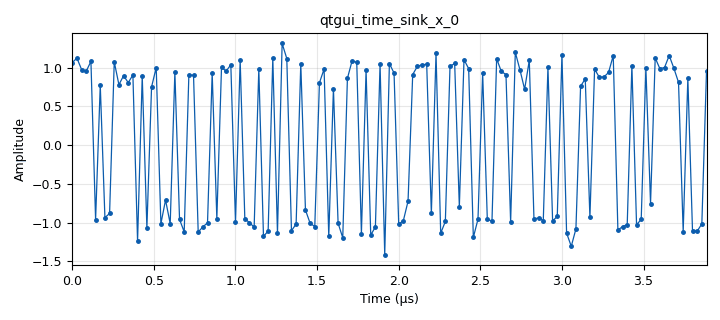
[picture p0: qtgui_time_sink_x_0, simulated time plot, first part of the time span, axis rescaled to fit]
options:
  parameters:
    category: Custom
    generate_options: qt_gui
    id: ber_test
    output_language: python
    title: simple BER test
  states: {}

blocks:
- name: berminerrs
  id: variable
  parameters:
    value: '100'
  states: {}
- name: dec
  id: variable_cc_decoder_def
  parameters:
    dim1: '1'
    framebits: framebits
    k: k
    mode: fec.CC_STREAMING
    ndim: '1'
    padding: 'False'
    polys: polys
    rate: rate
    state_end: '-1'
    state_start: '0'
  states: {}
- name: enc
  id: variable_cc_encoder_def
  parameters:
    dim1: '1'
    framebits: framebits
    k: k
    mode: fec.CC_STREAMING
    ndim: '1'
    padding: 'False'
    polys: polys
    rate: rate
    state_start: '0'
  states: {}
- name: esno
  id: variable_qtgui_range
  parameters:
    label: EsN0
    start: '0'
    step: '0.25'
    stop: '15'
    value: '15'
  states: {}
- name: framebits
  id: variable
  parameters:
    value: '4096'
  states: {}
- name: k
  id: variable
  parameters:
    value: '7'
  states: {}
- name: noise
  id: variable
  parameters:
    value: numpy.sqrt((10.0**(-esno/10.0))/2.0)
  states: {}
- name: polys
  id: variable
  parameters:
    value: '[79, 109]'
  states: {}
- name: puncpat
  id: variable
  parameters:
    value: '''11'''
  states: {}
- name: rate
  id: variable
  parameters:
    value: '2'
  states: {}
- name: samp_rate
  id: variable
  parameters:
    value: '35000000'
  states: {}
- name: analog_fastnoise_source_x_0
  id: analog_fastnoise_source_x
  parameters:
    amp: noise
    noise_type: analog.GR_GAUSSIAN
    samples: '8192'
    seed: '0'
    type: float
  states: {}
- name: analog_random_source_x_0
  id: analog_random_source_x
  parameters:
    max: '256'
    min: '0'
    num_samps: '1000'
    repeat: 'True'
    type: byte
  states: {}
- name: blocks_add_xx_0
  id: blocks_add_xx
  parameters:
    type: float
  states: {}
- name: blocks_char_to_float_1
  id: blocks_char_to_float
  parameters:
    scale: '1'
  states: {}
- name: blocks_pack_k_bits_bb_0
  id: blocks_pack_k_bits_bb
  parameters:
    k: '8'
  states: {}
- name: blocks_throttle_0
  id: blocks_throttle
  parameters:
    samples_per_second: samp_rate
    type: byte
  states: {}
- name: blocks_unpack_k_bits_bb_0
  id: blocks_unpack_k_bits_bb
  parameters:
    k: '8'
  states: {}
- name: digital_map_bb_0
  id: digital_map_bb
  parameters:
    map: '[-1, 1]'
  states: {}
- name: fec_ber_bf_0
  id: fec_ber_bf
  parameters:
    berminerrors: berminerrs
    test_mode: 'False'
  states: {}
- name: fec_extended_decoder_0
  id: fec_extended_decoder
  parameters:
    decoder_list: dec
    puncpat: puncpat
    threadtype: none
  states: {}
- name: fec_extended_encoder_0
  id: fec_extended_encoder
  parameters:
    encoder_list: enc
    puncpat: puncpat
    threadtype: capillary
  states: {}
- name: qtgui_number_sink_0
  id: qtgui_number_sink
  parameters:
    autoscale: 'True'
    color1: ("blue", "red")
    graph_type: qtgui.NUM_GRAPH_HORIZ
    label1: BER
    max: '10'
    min: '-10'
    type: float
  states: {}
- name: qtgui_time_sink_x_0
  id: qtgui_time_sink_x
  parameters:
    alpha1: '0.5'
    label1: ''
    legend: 'False'
    marker1: '0'
    name: ''
    size: '1024'
    srate: samp_rate
    style1: '3'
    type: float
    ymax: '1.25'
    ymin: '-1.25'
  states: {}

connections:
- [analog_fastnoise_source_x_0, '0', blocks_add_xx_0, '0']
- [analog_random_source_x_0, '0', blocks_throttle_0, '0']
- [blocks_add_xx_0, '0', fec_extended_decoder_0, '0']
- [blocks_add_xx_0, '0', qtgui_time_sink_x_0, '0']
- [blocks_char_to_float_1, '0', blocks_add_xx_0, '1']
- [blocks_pack_k_bits_bb_0, '0', fec_ber_bf_0, '0']
- [blocks_throttle_0, '0', blocks_unpack_k_bits_bb_0, '0']
- [blocks_throttle_0, '0', fec_ber_bf_0, '1']
- [blocks_unpack_k_bits_bb_0, '0', fec_extended_encoder_0, '0']
- [digital_map_bb_0, '0', blocks_char_to_float_1, '0']
- [fec_ber_bf_0, '0', qtgui_number_sink_0, '0']
- [fec_extended_decoder_0, '0', blocks_pack_k_bits_bb_0, '0']
- [fec_extended_encoder_0, '0', digital_map_bb_0, '0']

metadata:
  file_format: 1
  grc_version: 3.10.9.2
